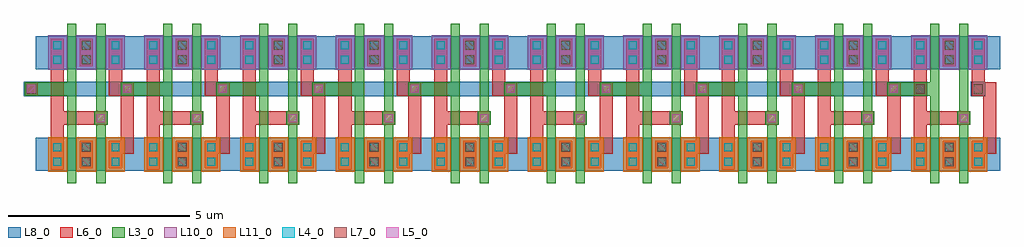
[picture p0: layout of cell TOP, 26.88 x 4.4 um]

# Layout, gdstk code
import gdstk
lib = gdstk.Library(unit=1e-6, precision=1e-09)
def R(c, l, rs):  # rectangles x0, y0, x1, y1
    for r in rs: c.add(gdstk.rectangle(r[:2], r[2:], *l))
def P(c, l, *ps):  # polygons
    for p in ps: c.add(gdstk.Polygon(p, *l))
L3_0 = (3, 0)
L4_0 = (4, 0)
L5_0 = (5, 0)
L6_0 = (6, 0)
L7_0 = (7, 0)
L8_0 = (8, 0)
L10_0 = (10, 0)
L11_0 = (11, 0)

trans = lib.new_cell('TRANS')
R(trans, L3_0, [(-0.125,-0.8,0.125,0.8)])
R(trans, L4_0, [(-0.51,-0.31,-0.29,-0.09), (0.29,-0.31,0.51,-0.09), (-0.51,0.09,-0.29,0.31), (0.29,0.09,0.51,0.31)])
R(trans, L6_0, [(-0.58,-0.38,-0.22,0.38), (0.22,-0.38,0.58,0.38)])

d_pmos = lib.new_cell('D$PMOS')

d_pmos_1 = lib.new_cell('D$PMOS$1')

d_nmos = lib.new_cell('D$NMOS')

d_nmos_1 = lib.new_cell('D$NMOS$1')

inv2 = lib.new_cell('INV2')
R(inv2, L3_0, [(-0.525,-0.25,-0.275,2.25), (0.275,-0.25,0.525,2.25), (0.22,0.82,0.58,1.18), (-1.7,1.62,-0.4,1.98)])
R(inv2, L5_0, [(0.29,0.89,0.51,1.11), (-1.63,1.69,-1.41,1.91)])
R(inv2, L6_0, [(-0.98,-0.42,-0.62,2.42), (-0.8,0.82,0.58,1.18)])
P(inv2, L6_0, [(0.8,0.02),(0.8,0.38),(0.94,0.38),(0.94,1.62),(0.62,1.62),(0.62,2.42),(0.98,2.42),(0.98,1.98),(1.3,1.98),(1.3,0.02)])
R(inv2, L7_0, [(-0.125,-0.325,0.125,-0.075), (-0.125,0.075,0.125,0.325), (-0.125,2.475,0.125,2.725), (-0.125,2.875,0.125,3.125)])
R(inv2, L8_0, [(-1.4,-0.45,1.4,0.45), (-1.4,2.35,1.4,3.25)])
R(inv2, L10_0, [(-1.05,2.325,-0.525,3.275), (-0.275,2.325,0.275,3.275), (0.525,2.325,1.05,3.275)])
R(inv2, L11_0, [(-1.05,-0.475,-0.525,0.475), (-0.275,-0.475,0.275,0.475), (0.525,-0.475,1.05,0.475)])
inv2.add(gdstk.Reference(trans, (-0.4,0)))
inv2.add(gdstk.Reference(trans, (-0.4,2.8)))
inv2.add(gdstk.Reference(trans, (0.4,0), x_reflection=True))
inv2.add(gdstk.Reference(trans, (0.4,2.8), x_reflection=True))
inv2.add(gdstk.Reference(d_pmos, (-0.4,2.8)))
inv2.add(gdstk.Reference(d_pmos_1, (0.4,2.8)))
inv2.add(gdstk.Reference(d_nmos, (-0.4,0)))
inv2.add(gdstk.Reference(d_nmos_1, (0.4,0)))

top = lib.new_cell('TOP')
R(top, L6_0, [(-1.7,1.62,-1.34,1.98)])
R(top, L7_0, [(-1.645,1.675,-1.395,1.925), (22.835,1.675,23.085,1.925), (24.435,1.675,24.685,1.925)])
R(top, L8_0, [(-1.72,1.6,23.16,2), (24.36,1.6,24.76,2)])
top.add(gdstk.Reference(inv2, (0,0)))
top.add(gdstk.Reference(inv2, (2.64,0)))
top.add(gdstk.Reference(inv2, (5.28,0)))
top.add(gdstk.Reference(inv2, (7.92,0)))
top.add(gdstk.Reference(inv2, (10.56,0)))
top.add(gdstk.Reference(inv2, (13.2,0)))
top.add(gdstk.Reference(inv2, (15.84,0)))
top.add(gdstk.Reference(inv2, (18.48,0)))
top.add(gdstk.Reference(inv2, (21.12,0)))
top.add(gdstk.Reference(inv2, (23.76,0)))

lib.write_gds('TOP.gds')
